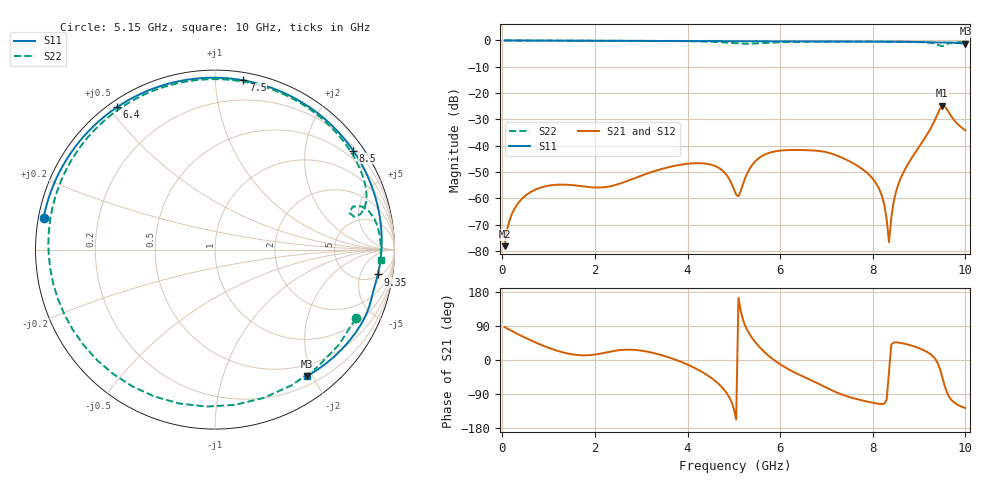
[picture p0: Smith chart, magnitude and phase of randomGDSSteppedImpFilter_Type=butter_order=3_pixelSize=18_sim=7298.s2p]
! freq	dB(S11)	phase(S11)	dB(S12)	phase(S12)
!  dB(S21)	phase(S21)	dB(S22)	phase(S22)
!S-par simulation data
#  GHz  S  DB  R 50
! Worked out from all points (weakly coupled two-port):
!   200 points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, 50 MHz to 10 GHz, reference 50 ohm
!   highest |S21| = -24.79 dB at 9.5 GHz (marker M1); lowest = -78.2 dB at 50 MHz (marker M2)
!   lowest |S11| = -1.2 dB at 10 GHz (marker M3), VSWR 14.56, Z = 16.4 - j95.9 ohm
!   |S11| at or under -10 dB: nowhere
!   |S22| runs from -2.2 to 0.0 dB; largest |S21 - S12| = 0
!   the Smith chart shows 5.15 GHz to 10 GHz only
!   S11 on the Smith chart (normalised r, x): 5.15 GHz: 0.01, +0.09; 6.4 GHz: 0.02, +0.53; 7.5 GHz: 0.05, +1.18; 8.5 GHz: 0.29, +3.09; 9.35 GHz: 6, -10; 10 GHz: 0.33, -1.92
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0.05  -0.00 -2.1  -78.18 86.8  -78.18 86.8  -0.00 -4.4
0.2  -0.01 -8.5  -66.26 77.1  -66.26 77.1  -0.03 -17.5
0.55  -0.03 -23.1  -58.32 55.7  -58.32 55.7  -0.06 -46.9
1.1  -0.06 -45.6  -54.94 27.8  -54.94 27.8  -0.10 -87.6
1.75  -0.09 -71.3  -55.46 12.3  -55.46 12.3  -0.12 -126.6
2.55  -0.12 -101.1  -54.34 26.2  -54.34 26.2  -0.14 -165.8
3.4  -0.16 -131.1  -49.05 14.2  -49.05 14.2  -0.19 155.0
4.5  -0.21 -168.4  -47.17 -46.1  -47.17 -46.1  -0.48 81.3
4.8  -0.23 -178.6  -50.20 -79.9  -50.20 -79.9  -0.76 42.6
5.05  -0.25 172.9  -58.64 -156.9  -58.64 -156.9  -1.07 -3.9
5.15  -0.25 169.4  -57.18 128.7  -57.18 128.7  -1.18 -26.1
5.4  -0.27 160.7  -47.21 57.3  -47.21 57.3  -1.19 -82.7
5.75  -0.29 148.3  -42.79 11.2  -42.79 11.2  -0.87 -143.8
6.4  -0.33 124.5  -41.62 -38.1  -41.62 -38.1  -0.54 154.5
6.7  -0.34 113.0  -41.80 -55.2  -41.80 -55.2  -0.48 135.9
7.5  -0.39 80.5  -45.95 -97.9  -45.95 -97.9  -0.45 96.4
8.15  -0.43 52.0  -56.89 -115.8  -56.89 -115.8  -0.47 68.3
8.35  -0.45 42.7  -76.64 -32.1  -76.64 -32.1  -0.49 59.8
8.5  -0.47 35.6  -57.60 46.5  -57.60 46.5  -0.51 53.5
9.35  -0.75 -8.7  -29.90 2.7  -29.90 2.7  -1.24 15.7
9.5  -0.79 -17.0  -24.79 -44.6  -24.79 -44.6  -2.21 15.3
10  -1.19 -54.0  -34.17 -126.7  -34.17 -126.7  -0.68 -3.7
